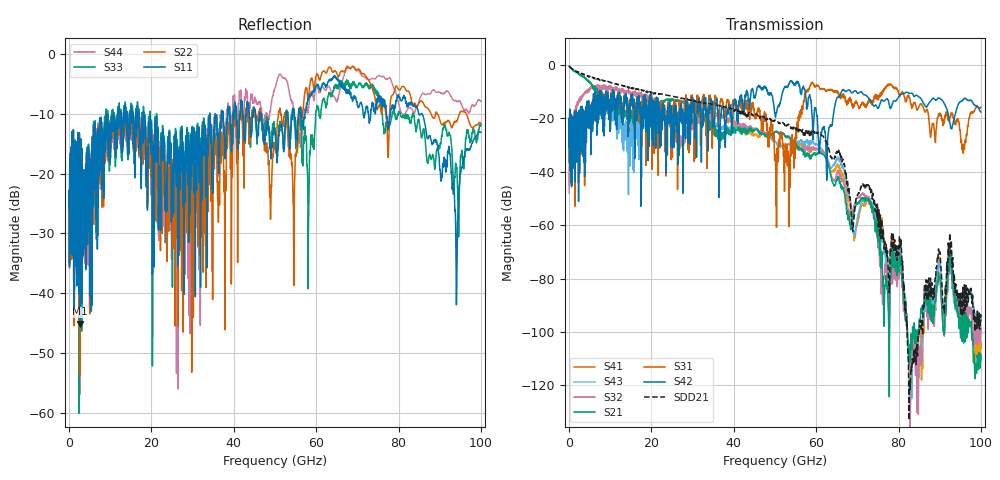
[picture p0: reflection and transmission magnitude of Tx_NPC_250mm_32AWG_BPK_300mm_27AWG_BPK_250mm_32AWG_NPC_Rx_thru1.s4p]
! Info: Touchstone file created by Circ.  Input file=Tx_NPC_250mm_32AWG_BPK_300mm_27AWG_BPK_250mm_32AWG_NPC_Rx.circ
# Hz S RI R 50
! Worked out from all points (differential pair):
!   10000 points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, 10 MHz to 100 GHz, reference 50 ohm
!   strongest paths, dB at 10 MHz, 25.01 GHz, 50.01 GHz, 75.01 GHz, 100 GHz:
!     S42: -30.6, -19.4, -18.5, -16.3, -17.6
!     S31: -30.6, -21.1, -35.5, -11.9, -15.8
!     S21: -0.4, -12.8, -25.0, -64.4, -110.9
!     S32: -48.0, -23.7, -25.0, -66.4, -100.6
!     S43: -0.4, -12.7, -28.5, -61.6, -96.1
!     S41: -44.8, -23.9, -28.6, -60.7, -106.1
!   taken as a pair (ports 1,3 in; 2,4 out), SDD21 dB: -0.4, -11.7, -20.6, -58.9, -95.9
!   lowest |S11| = -45.1 dB at 2.72 GHz (marker M1), VSWR 1.01, Z = 49.5 + j0.153 ohm
!   |S11| at or under -10 dB: start of sweep to 8.985 GHz; 18.11 GHz to 37.01 GHz (18.9 GHz wide, 68.6 % of centre); 85.71 GHz to end of sweep (the widest 3 of 47)
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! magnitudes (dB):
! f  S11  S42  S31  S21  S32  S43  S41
! 10 MHz  -25.6  -30.6  -30.6  -0.4  -48.0  -0.4  -44.8
! 2.72 GHz  -45.1  -26.5  -26.1  -3.6  -12.2  -3.6  -12.2
! 42.94 GHz  -10.4  -10.5  -15.0  -24.0  -22.9  -24.5  -24.9
! 50.33 GHz  -16.4  -18.0  -44.7  -24.7  -24.9  -29.0  -29.1
! 60.52 GHz  -5.2  -27.2  -8.0  -32.7  -31.2  -30.1  -31.5
! 76.15 GHz  -8.8  -13.3  -9.5  -82.7  -89.5  -66.5  -63.8
! 100 GHz  -13.1  -17.6  -15.8  -110.9  -100.6  -96.1  -106.1
